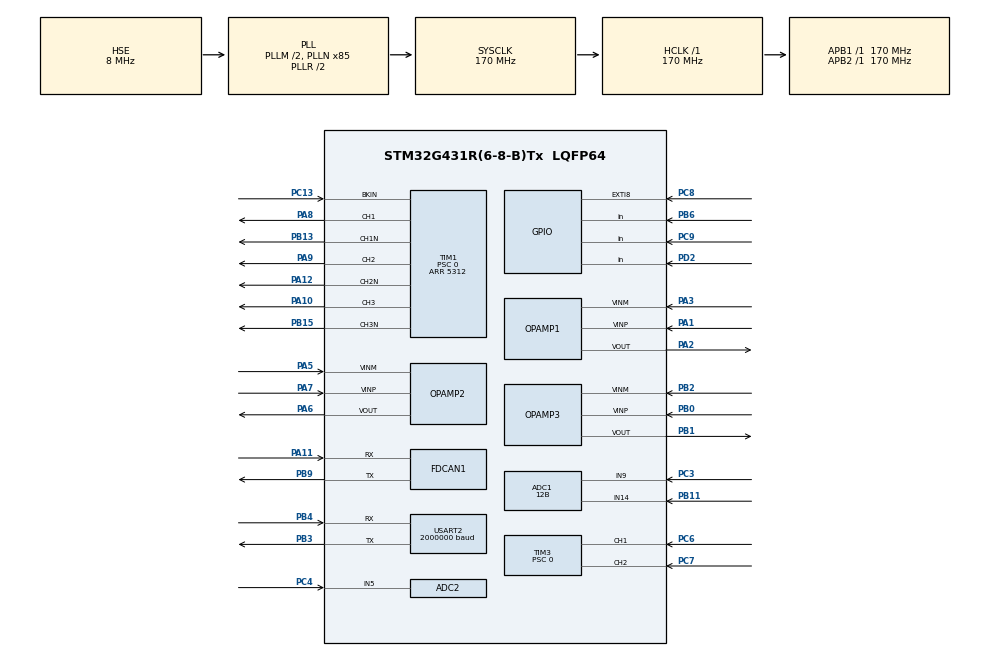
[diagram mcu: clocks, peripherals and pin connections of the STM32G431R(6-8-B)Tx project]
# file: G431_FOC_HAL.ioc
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ADC1.Channel-0\#ChannelRegularConversion=ADC_CHANNEL_14
ADC1.ClockPrescaler=ADC_CLOCK_SYNC_PCLK_DIV4
ADC1.ContinuousConvMode=DISABLE
ADC1.DMAContinuousRequests=DISABLE
ADC1.DataAlign=ADC_DATAALIGN_RIGHT
ADC1.DiscontinuousConvMode=DISABLE
ADC1.EOCSelection=ADC_EOC_SEQ_CONV
ADC1.EnableInjectedConversion=ENABLE
ADC1.EnableInjectedOversampling=DISABLE
ADC1.EnableRegularConversion=ENABLE
ADC1.ExternalTrigConv=ADC_SOFTWARE_START
ADC1.ExternalTrigConvEdge=ADC_EXTERNALTRIGCONVEDGE_NONE
ADC1.ExternalTrigInjecConv=ADC_EXTERNALTRIGINJEC_T1_CC4
ADC1.ExternalTrigInjecConvEdge=ADC_EXTERNALTRIGINJECCONV_EDGE_RISING
ADC1.InjNumberOfConversion=1
ADC1.InjectedChannel-1\#ChannelInjectedConversion=ADC_CHANNEL_9
ADC1.InjectedConvMode=None
ADC1.InjectedOffsetNumber-1\#ChannelInjectedConversion=ADC_OFFSET_NONE
ADC1.InjectedRank-1\#ChannelInjectedConversion=1
ADC1.InjectedSamplingTime-1\#ChannelInjectedConversion=ADC_SAMPLETIME_6CYCLES_5
ADC1.LowPowerAutoWait=DISABLE
ADC1.Mode=ADC_MODE_INDEPENDENT
ADC1.NbrOfConversion=1
ADC1.OffsetNumber-0\#ChannelRegularConversion=ADC_OFFSET_NONE
ADC1.Overrun=ADC_OVR_DATA_OVERWRITTEN
ADC1.OversamplingMode=DISABLE
ADC1.Rank-0\#ChannelRegularConversion=1
ADC1.Resolution=ADC_RESOLUTION_12B
ADC1.SamplingTime-0\#ChannelRegularConversion=ADC_SAMPLETIME_47CYCLES_5
ADC1.ScanConvMode=ADC_SCAN_DISABLE
ADC1.injectedQueueMode=DISABLE
ADC1.master=1
ADC2.ContinuousConvMode=DISABLE
ADC2.DMAContinuousRequests=DISABLE
ADC2.DataAlign=ADC_DATAALIGN_RIGHT
ADC2.DiscontinuousConvMode=DISABLE
ADC2.EnableInjectedConversion=ENABLE
ADC2.EnableInjectedOversampling=DISABLE
ADC2.EnableRegularConversion=DISABLE
ADC2.ExternalTrigInjecConv=ADC_EXTERNALTRIGINJEC_T1_CC4
ADC2.ExternalTrigInjecConvEdge=ADC_EXTERNALTRIGINJECCONV_EDGE_RISING
ADC2.InjNumberOfConversion=1
ADC2.InjectedChannel-1\#ChannelInjectedConversion=ADC_CHANNEL_5
ADC2.InjectedConvMode=None
ADC2.InjectedOffsetNumber-1\#ChannelInjectedConversion=ADC_OFFSET_NONE
ADC2.InjectedRank-1\#ChannelInjectedConversion=1
ADC2.InjectedSamplingTime-1\#ChannelInjectedConversion=ADC_SAMPLETIME_6CYCLES_5
ADC2.LowPowerAutoWait=DISABLE
ADC2.Overrun=ADC_OVR_DATA_OVERWRITTEN
ADC2.Resolution=ADC_RESOLUTION_12B
ADC2.ScanConvMode=ADC_SCAN_DISABLE
ADC2.injectedQueueMode=DISABLE
Dma.Request0=USART2_TX
Dma.Request1=USART2_RX
Dma.USART2_RX.1.Direction=DMA_PERIPH_TO_MEMORY
Dma.USART2_RX.1.EventEnable=DISABLE
Dma.USART2_RX.1.Instance=DMA1_Channel2
Dma.USART2_RX.1.MemDataAlignment=DMA_MDATAALIGN_BYTE
Dma.USART2_RX.1.MemInc=DMA_MINC_ENABLE
Dma.USART2_RX.1.Mode=DMA_CIRCULAR
Dma.USART2_RX.1.PeriphDataAlignment=DMA_PDATAALIGN_BYTE
Dma.USART2_RX.1.PeriphInc=DMA_PINC_DISABLE
Dma.USART2_RX.1.Polarity=HAL_DMAMUX_REQ_GEN_RISING
Dma.USART2_RX.1.Priority=DMA_PRIORITY_LOW
Dma.USART2_RX.1.RequestNumber=1
Dma.USART2_RX.1.SignalID=NONE
Dma.USART2_RX.1.SyncEnable=DISABLE
Dma.USART2_RX.1.SyncPolarity=HAL_DMAMUX_SYNC_NO_EVENT
Dma.USART2_RX.1.SyncRequestNumber=1
Dma.USART2_RX.1.SyncSignalID=NONE
Dma.USART2_TX.0.Direction=DMA_MEMORY_TO_PERIPH
Dma.USART2_TX.0.EventEnable=DISABLE
Dma.USART2_TX.0.Instance=DMA1_Channel1
Dma.USART2_TX.0.MemDataAlignment=DMA_MDATAALIGN_BYTE
Dma.USART2_TX.0.MemInc=DMA_MINC_ENABLE
Dma.USART2_TX.0.Mode=DMA_NORMAL
Dma.USART2_TX.0.PeriphDataAlignment=DMA_PDATAALIGN_BYTE
Dma.USART2_TX.0.PeriphInc=DMA_PINC_DISABLE
Dma.USART2_TX.0.Polarity=HAL_DMAMUX_REQ_GEN_RISING
Dma.USART2_TX.0.Priority=DMA_PRIORITY_LOW
Dma.USART2_TX.0.RequestNumber=1
Dma.USART2_TX.0.SignalID=NONE
Dma.USART2_TX.0.SyncEnable=DISABLE
Dma.USART2_TX.0.SyncPolarity=HAL_DMAMUX_SYNC_NO_EVENT
Dma.USART2_TX.0.SyncRequestNumber=1
Dma.USART2_TX.0.SyncSignalID=NONE
FDCAN1.AutoRetransmission=ENABLE
FDCAN1.CalculateBaudRateNominal=499999
FDCAN1.CalculateTimeBitNominal=2000
FDCAN1.CalculateTimeQuantumNominal=58.82352941176471
FDCAN1.DataSyncJumpWidth=1
FDCAN1.NominalPrescaler=10
FDCAN1.NominalSyncJumpWidth=4
FDCAN1.NominalTimeSeg1=27
FDCAN1.NominalTimeSeg2=6
FDCAN1.StdFiltersNbr=1
FDCAN1.TxFifoQueueMode=FDCAN_TX_FIFO_OPERATION
Mcu.Family=STM32G4
Mcu.Name=STM32G431R(6-8-B)Tx
Mcu.Package=LQFP64
NVIC.ADC1_2_IRQn=true\:0\:0\:false\:false\:true\:true\:true\:true
NVIC.DMA1_Channel1_IRQn=true\:2\:0\:true\:false\:true\:false\:true\:true
NVIC.DMA1_Channel2_IRQn=true\:2\:0\:true\:false\:true\:false\:true\:true
NVIC.FDCAN1_IT0_IRQn=true\:2\:0\:true\:false\:true\:true\:true\:true
NVIC.EXTI9_5_IRQn=true\:1\:0\:true\:false\:true\:true\:true\:true
NVIC.FLASH_IRQn=true\:2\:0\:true\:false\:true\:true\:true\:true
NVIC.PriorityGroup=NVIC_PRIORITYGROUP_4
NVIC.TIM1_BRK_TIM15_IRQn=true\:0\:0\:false\:false\:true\:true\:true\:true
NVIC.TIM6_DAC_IRQn=true\:1\:0\:true\:false\:true\:true\:true\:true
NVIC.USART2_IRQn=true\:2\:0\:true\:false\:true\:true\:true\:true
PA1.Mode=Standalone
PA1.Signal=OPAMP1_VINP
PA10.GPIO_PuPd=GPIO_PULLDOWN
PA10.GPIO_Speed=GPIO_SPEED_FREQ_HIGH
PA10.Signal=S_TIM1_CH3
PA11.Mode=FDCAN_Activate
PA11.Signal=FDCAN1_RX
PA12.GPIO_PuPd=GPIO_PULLDOWN
PA12.GPIO_Speed=GPIO_SPEED_FREQ_HIGH
PA12.Mode=PWM Generation2 CH2 CH2N
PA12.Signal=TIM1_CH2N
PA13.Mode=Serial_Wire
PA13.Signal=SYS_JTMS-SWDIO
PA14.Mode=Serial_Wire
PA14.Signal=SYS_JTCK-SWCLK
PA2.Mode=Standalone
PA2.Signal=OPAMP1_VOUT
PA3.Mode=Standalone
PA3.Signal=OPAMP1_VINM
PA5.Mode=Standalone
PA5.Signal=OPAMP2_VINM
PA6.Mode=Standalone
PA6.Signal=OPAMP2_VOUT
PA7.Mode=Standalone
PA7.Signal=OPAMP2_VINP
PA8.GPIO_PuPd=GPIO_PULLDOWN
PA8.GPIO_Speed=GPIO_SPEED_FREQ_HIGH
PA8.Signal=S_TIM1_CH1
PA9.GPIO_PuPd=GPIO_PULLDOWN
PA9.GPIO_Speed=GPIO_SPEED_FREQ_HIGH
PA9.Signal=S_TIM1_CH2
PB0.Mode=Standalone
PB0.Signal=OPAMP3_VINP
PB1.Mode=Standalone
PB1.Signal=OPAMP3_VOUT
PB11.Mode=IN14-Single-Ended
PB11.Signal=ADC1_IN14
PB13.GPIO_PuPd=GPIO_PULLDOWN
PB13.GPIO_Speed=GPIO_SPEED_FREQ_HIGH
PB13.Mode=PWM Generation1 CH1 CH1N
PB13.Signal=TIM1_CH1N
PB15.GPIO_PuPd=GPIO_PULLDOWN
PB15.GPIO_Speed=GPIO_SPEED_FREQ_HIGH
PB15.Mode=PWM Generation3 CH3 CH3N
PB15.Signal=TIM1_CH3N
PB2.Mode=Standalone
PB2.Signal=OPAMP3_VINM
PB3.Mode=Asynchronous
PB3.Signal=USART2_TX
PB4.Mode=Asynchronous
PB4.Signal=USART2_RX
PB6.GPIO_PuPd=GPIO_PULLDOWN
PB6.Signal=GPIO_Input
PB9.Mode=FDCAN_Activate
PB9.Signal=FDCAN1_TX
PC13.GPIO_PuPd=GPIO_PULLUP
PC13.Mode=Activate-Break-Input
PC13.Signal=TIM1_BKIN
PC3.Mode=IN9-Single-Ended
PC3.Signal=ADC1_IN9
PC4.Mode=IN5-Single-Ended
PC4.Signal=ADC2_IN5
PC6.Signal=S_TIM3_CH1
PC7.Signal=S_TIM3_CH2
PC8.GPIO_PuPd=GPIO_PULLDOWN
PC8.GPIO_ModeDefaultEXTI=GPIO_MODE_IT_RISING
PC8.Signal=GPXTI8
PC9.GPIO_PuPd=GPIO_PULLDOWN
PC9.Signal=GPIO_Input
PD2.GPIO_PuPd=GPIO_PULLDOWN
PD2.Signal=GPIO_Input
PF0-OSC_IN.Mode=HSE-External-Oscillator
PF0-OSC_IN.Signal=RCC_OSC_IN
PF1-OSC_OUT.Mode=HSE-External-Oscillator
PF1-OSC_OUT.Signal=RCC_OSC_OUT
ProjectManager.HeapSize=0x200
ProjectManager.StackSize=0x400
ProjectManager.TargetToolchain=CMake
RCC.ADC12Freq_Value=170000000
RCC.AHBCLKDivider=RCC_SYSCLK_DIV1
RCC.AHBFreq_Value=170000000
RCC.APB1CLKDivider=RCC_HCLK_DIV1
RCC.APB1Freq_Value=170000000
RCC.APB1TimFreq_Value=170000000
RCC.APB2CLKDivider=RCC_HCLK_DIV1
RCC.APB2Freq_Value=170000000
RCC.APB2TimFreq_Value=170000000
RCC.CortexFreq_Value=170000000
RCC.EXTERNAL_CLOCK_VALUE=12288000
RCC.HCLKFreq_Value=170000000
RCC.HSE_VALUE=8000000
RCC.HSI48_VALUE=48000000
RCC.HSI_VALUE=16000000
RCC.LSE_VALUE=32768
RCC.PLLM=RCC_PLLM_DIV2
RCC.PLLN=85
RCC.PLLR=RCC_PLLR_DIV2
RCC.PLLSourceVirtual=RCC_PLLSOURCE_HSE
RCC.SYSCLKFreq_VALUE=170000000
RCC.SYSCLKSource=RCC_SYSCLKSOURCE_PLLCLK
RCC.USBFreq_Value=170000000
RCC.VCOOutputFreq_Value=340000000
SH.S_TIM1_CH1.0=TIM1_CH1,PWM Generation1 CH1 CH1N
SH.S_TIM1_CH2.0=TIM1_CH2,PWM Generation2 CH2 CH2N
SH.S_TIM1_CH3.0=TIM1_CH3,PWM Generation3 CH3 CH3N
SH.S_TIM3_CH1.0=TIM3_CH1,Encoder_Interface
SH.S_TIM3_CH2.0=TIM3_CH2,Encoder_Interface
TIM1.AutoReloadPreload=TIM_AUTORELOAD_PRELOAD_DISABLE
TIM1.AutomaticOutput=TIM_AUTOMATICOUTPUT_DISABLE
TIM1.BreakFilter=4
TIM1.BreakPolarity=TIM_BREAKPOLARITY_LOW
TIM1.BreakState=TIM_BREAK_ENABLE
TIM1.Channel-PWM\ Generation1\ CH1\ CH1N=TIM_CHANNEL_1
TIM1.Channel-PWM\ Generation2\ CH2\ CH2N=TIM_CHANNEL_2
TIM1.Channel-PWM\ Generation3\ CH3\ CH3N=TIM_CHANNEL_3
TIM1.Channel-PWM\ Generation4\ No\ Output=TIM_CHANNEL_4
TIM1.ClockDivision=TIM_CLOCKDIVISION_DIV1
TIM1.CounterMode=TIM_COUNTERMODE_CENTERALIGNED1
TIM1.DeadTime=149
TIM1.OCMode_PWM-PWM\ Generation1\ CH1\ CH1N=TIM_OCMODE_PWM1
TIM1.OCMode_PWM-PWM\ Generation2\ CH2\ CH2N=TIM_OCMODE_PWM1
TIM1.OCMode_PWM-PWM\ Generation3\ CH3\ CH3N=TIM_OCMODE_PWM1
TIM1.OCMode_PWM-PWM\ Generation4\ No\ Output=TIM_OCMODE_PWM2
TIM1.OCNPolarity_1=TIM_OCNPOLARITY_HIGH
TIM1.OCNPolarity_2=TIM_OCNPOLARITY_HIGH
TIM1.OCNPolarity_3=TIM_OCNPOLARITY_HIGH
TIM1.OCPolarity_1=TIM_OCPOLARITY_HIGH
TIM1.OCPolarity_2=TIM_OCPOLARITY_HIGH
TIM1.OCPolarity_3=TIM_OCPOLARITY_HIGH
TIM1.PeriodNoDither=5312
TIM1.Prescaler=0
TIM1.PulseNoDither_1=2656
TIM1.PulseNoDither_2=2656
TIM1.PulseNoDither_3=2656
TIM1.PulseNoDither_4=4950
TIM1.RepetitionCounter=1
TIM1.TIM_MasterOutputTrigger=TIM_TRGO_RESET
TIM1.TIM_MasterOutputTrigger2=TIM_TRGO2_RESET
TIM1.TIM_MasterSlaveMode=TIM_MASTERSLAVEMODE_DISABLE
TIM3.AutoReloadPreload=TIM_AUTORELOAD_PRELOAD_DISABLE
TIM3.ClockDivision=TIM_CLOCKDIVISION_DIV1
TIM3.CounterMode=TIM_COUNTERMODE_UP
TIM3.EncoderMode=TIM_ENCODERMODE_TI12
TIM3.IC1Filter=12
TIM3.IC1Polarity=TIM_ICPOLARITY_RISING
TIM3.IC1Prescaler=TIM_ICPSC_DIV1
TIM3.IC1Selection=TIM_ICSELECTION_DIRECTTI
TIM3.IC2Filter=12
TIM3.IC2Polarity=TIM_ICPOLARITY_RISING
TIM3.IC2Prescaler=TIM_ICPSC_DIV1
TIM3.IC2Selection=TIM_ICSELECTION_DIRECTTI
TIM3.PeriodNoDither=4095
TIM3.Prescaler=0
TIM3.TIM_MasterOutputTrigger=TIM_TRGO_RESET
TIM3.TIM_MasterSlaveMode=TIM_MASTERSLAVEMODE_DISABLE
TIM6.PeriodNoDither=999
TIM6.Prescaler=169
USART2.BaudRate=2000000
USART2.StopBits=STOPBITS_2
USART2.VirtualMode-Asynchronous=VM_ASYNC
VP_SYS_VS_DBSignals.Mode=DisableDeadBatterySignals
VP_TIM1_VS_no_output4.Mode=PWM Generation4 No Output
VP_TIM6_VS_ClockSourceINT.Mode=Enable_Timer
board=custom

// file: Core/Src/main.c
/* USER CODE BEGIN Header */
/**
  ******************************************************************************
  * @file           main.c
  * @brief          FOC主程序
  ******************************************************************************
  * @attention
  *
  * Copyright (c) 2026 STMicroelectronics.
  * All rights reserved.
  *
  * This software is licensed under terms that can be found in the LICENSE file
  * in the root directory of this software component.
  * If no LICENSE file comes with this software, it is provided AS-IS.
  *
  ******************************************************************************
  */
/* USER CODE END Header */
#include "main.h"
#include "adc.h"
#include "dma.h"
#include "fdcan.h"
#include "opamp.h"
#include "tim.h"
#include "usart.h"
#include "gpio.h"

/* USER CODE BEGIN Includes */
#include "foc_lib.h"
#include "foc_manager.h"
#include "foc_can.h"
#include "foc_key.h"
/* USER CODE END Includes */

void SystemClock_Config(void);

int main(void)
{

  /* MCU Configuration--------------------------------------------------------*/

  /* Reset of all peripherals, Initializes the Flash interface and the Systick. */
  HAL_Init();

  /* Configure the system clock */
  SystemClock_Config();

  /* Initialize all configured peripherals */
  MX_GPIO_Init();
  MX_DMA_Init();
  MX_ADC1_Init();
  MX_ADC2_Init();
  MX_OPAMP1_Init();
  MX_OPAMP2_Init();
  MX_OPAMP3_Init();
  MX_TIM1_Init();
  MX_TIM3_Init();
  MX_TIM6_Init();
  MX_USART2_UART_Init();
  MX_FDCAN1_Init();
  /* USER CODE BEGIN 2 */
  FOC_Motor_Init();
  FOC_KEY_Init();
  Modbus_StartReceive();
  if (FOC_CAN_Init() != HAL_OK)
  {
      Error_Handler();
  }
  /* USER CODE END 2 */

  /* Infinite loop */
  while (1)
  {

    /* USER CODE BEGIN 3 */
    Modbus_Task();
    FOC_CAN_ProcessRx();
    FOC_KEY_Task();
    FOC_BUS_VOLTAGE_Update(&foc_motor.bus_voltage);
    FOC_Motor_Task();
    FOC_CAN_SendFeedback();
  }
  /* USER CODE END 3 */
}

void SystemClock_Config(void)
{
  RCC_OscInitTypeDef RCC_OscInitStruct = {0};
  RCC_ClkInitTypeDef RCC_ClkInitStruct = {0};

  /** Configure the main internal regulator output voltage
  */
  HAL_PWREx_ControlVoltageScaling(PWR_REGULATOR_VOLTAGE_SCALE1_BOOST);

  /** Initializes the RCC Oscillators according to the specified parameters
  * in the RCC_OscInitTypeDef structure.
  */
  RCC_OscInitStruct.OscillatorType = RCC_OSCILLATORTYPE_HSE;
  RCC_OscInitStruct.HSEState = RCC_HSE_ON;
  RCC_OscInitStruct.PLL.PLLState = RCC_PLL_ON;
  RCC_OscInitStruct.PLL.PLLSource = RCC_PLLSOURCE_HSE;
  RCC_OscInitStruct.PLL.PLLM = RCC_PLLM_DIV2;
  RCC_OscInitStruct.PLL.PLLN = 85;
  RCC_OscInitStruct.PLL.PLLP = RCC_PLLP_DIV2;
  RCC_OscInitStruct.PLL.PLLQ = RCC_PLLQ_DIV2;
  RCC_OscInitStruct.PLL.PLLR = RCC_PLLR_DIV2;
  if (HAL_RCC_OscConfig(&RCC_OscInitStruct) != HAL_OK)
  {
    Error_Handler();
  }

  /** Initializes the CPU, AHB and APB buses clocks
  */
  RCC_ClkInitStruct.ClockType = RCC_CLOCKTYPE_HCLK|RCC_CLOCKTYPE_SYSCLK
                              |RCC_CLOCKTYPE_PCLK1|RCC_CLOCKTYPE_PCLK2;
  RCC_ClkInitStruct.SYSCLKSource = RCC_SYSCLKSOURCE_PLLCLK;
  RCC_ClkInitStruct.AHBCLKDivider = RCC_SYSCLK_DIV1;
  RCC_ClkInitStruct.APB1CLKDivider = RCC_HCLK_DIV1;
  RCC_ClkInitStruct.APB2CLKDivider = RCC_HCLK_DIV1;

  if (HAL_RCC_ClockConfig(&RCC_ClkInitStruct, FLASH_LATENCY_4) != HAL_OK)
  {
    Error_Handler();
  }
}

/* USER CODE BEGIN 4 */
// TIM6每1ms更新速度环；位置模式下每5次更新一次位置环。
void HAL_TIM_PeriodElapsedCallback(TIM_HandleTypeDef *htim)
{
  static uint8_t pos_cnt = 0;
  if(htim == &htim6 && foc_motor.control_active != 0U)
  {
    if(foc_motor.position_active != 0U)
    {
      if(++pos_cnt >= 5U)
      {
        pos_cnt = 0U;
        FOC_LOOP_POS_Update(&foc_motor.loop_pos, POSITION_LOOP_TS);
      }
    }
    else
    {
      pos_cnt = 0U;
    }
    FOC_LOOP_SPD_Update(&foc_motor.loop_spd, SPEED_LOOP_TS);
  }
}
// 电流环也在ALIGNING的寻Z/回零期间执行。通信不依赖控制中断。
void HAL_ADCEx_InjectedConvCpltCallback(ADC_HandleTypeDef *hadc)
{
  if(hadc == &hadc1)
  {
    if (foc_motor.control_active == 0U)
    {
      return;
    }
    FOC_LOOP_CUR_Update(&foc_motor.loop_cur, foc_motor.bus_voltage.voltage);
  }
}

// Z上升沿只锁存一次计数，主循环再计算零点并切换控制目标。
void HAL_GPIO_EXTI_Callback(uint16_t pin)
{
  if (pin == GPIO_PIN_8 && foc_motor.encoder.index_armed != 0U)
  {
    foc_motor.encoder.index_count = __HAL_TIM_GET_COUNTER(&htim3);
    foc_motor.encoder.index_found = 1U;
    foc_motor.encoder.index_armed = 0U;
  }
}
/* USER CODE END 4 */

void Error_Handler(void)
{
  /* USER CODE BEGIN Error_Handler_Debug */
  /* 初始化失败后禁止中断，并停留在此处。 */
  __disable_irq();
  while (1)
  {
  }
  /* USER CODE END Error_Handler_Debug */
}
#ifdef USE_FULL_ASSERT
/**
  * @brief  Reports the name of the source file and the source line number
  *         where the assert_param error has occurred.
  * @param  file: pointer to the source file name
  * @param  line: assert_param error line source number
  * @retval None
  */
void assert_failed(uint8_t *file, uint32_t line)
{
  /* USER CODE BEGIN 6 */
  /* 可在此处处理断言信息。 */
  /* USER CODE END 6 */
}
#endif /* USE_FULL_ASSERT */
